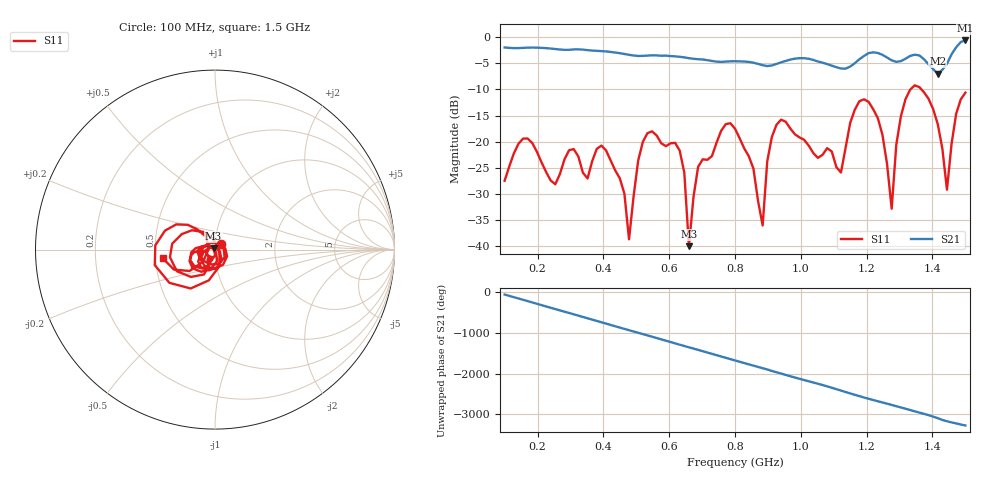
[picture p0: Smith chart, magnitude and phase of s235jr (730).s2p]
! NanoVNA-App
! Date: 2025-09-25 15:09:51
! Start: 100MHz Stop: 1,5GHz Points: 101
! S-Parameter data: F S11 S21 S12 S22
# Hz S RI R 50
!  Frequency  S11_Real  S11_Imag  S21_Real  S21_Imag  S12_Real  S12_Imag  S22_Real  S22_Imag
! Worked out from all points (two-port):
!   101 points, 100 MHz to 1.5 GHz, reference 50 ohm
!   highest |S21| = -0.62 dB at 1.5 GHz (marker M1); lowest = -7.0 dB at 1.416 GHz (marker M2)
!   |S21| within 3 dB of the highest: start of sweep to 606.9 MHz; 1.191 GHz to 1.255 GHz (63.67 MHz wide, 5.21 % of centre) (the widest 2 of 4)
!   lowest |S11| = -40.0 dB at 660 MHz (marker M3), VSWR 1.02, Z = 49.2 + j0.636 ohm
!   |S11| at or under -10 dB: start of sweep to 1.333 GHz; 1.367 GHz to end of sweep
!   S12 and S22 are empty: the file has one direction only
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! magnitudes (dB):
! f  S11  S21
! 100 MHz  -27.5  -2.0
! 156 MHz  -19.4  -2.0
! 338 MHz  -25.9  -2.4
! 408 MHz  -21.6  -2.7
! 478 MHz  -38.7  -3.4
! 520 MHz  -20.0  -3.6
! 576 MHz  -20.3  -3.5
! 632 MHz  -21.7  -3.7
! 660 MHz  -40.0  -4.0
! 688 MHz  -24.8  -4.2
! 800 MHz  -17.5  -4.6
! 884 MHz  -36.0  -5.4
! 926 MHz  -16.8  -5.1
! 1.038 GHz  -22.2  -4.4
! 1.122 GHz  -25.9  -6.0
! 1.206 GHz  -12.4  -3.0
! 1.276 GHz  -32.8  -4.4
! 1.29 GHz  -20.6  -4.7
! 1.332 GHz  -10.1  -3.6
! 1.416 GHz  -16.6  -7.0
! 1.444 GHz  -29.2  -5.1
! 1.5 GHz  -10.6  -0.6
